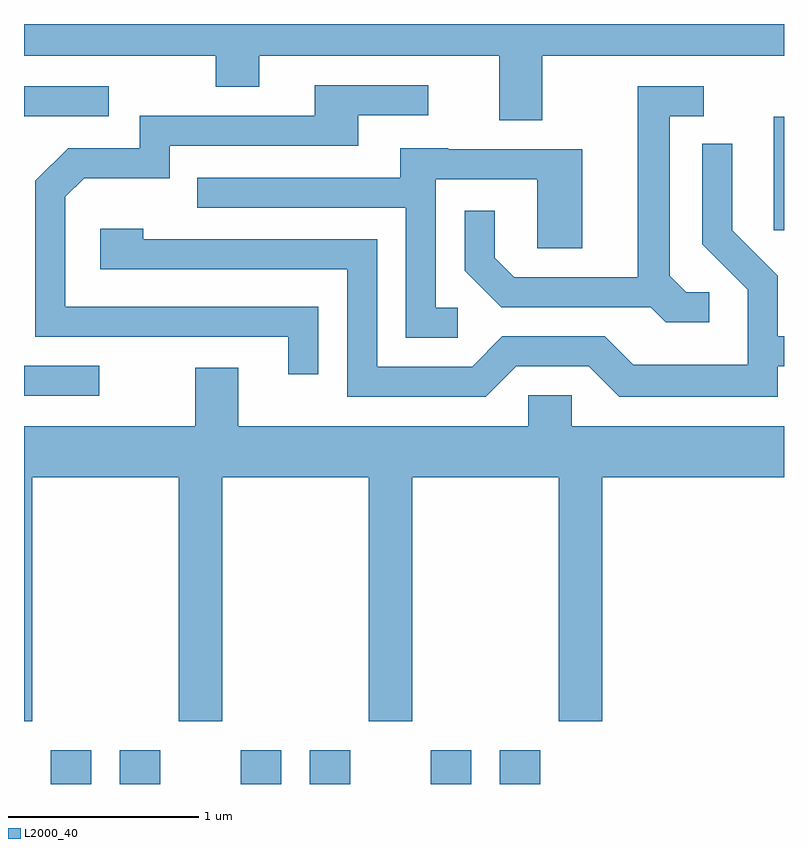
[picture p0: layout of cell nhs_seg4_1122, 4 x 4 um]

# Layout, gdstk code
import gdstk
lib = gdstk.Library(unit=1e-6, precision=1e-09)
def R(c, l, rs):  # rectangles x0, y0, x1, y1
    for r in rs: c.add(gdstk.rectangle(r[:2], r[2:], *l))
def P(c, l, *ps):  # polygons
    for p in ps: c.add(gdstk.Polygon(p, *l))
L2000_40 = (2000, 40)

nhs_seg4_1122 = lib.new_cell('nhs_seg4_1122')
R(nhs_seg4_1122, L2000_40, [(217.751,1321.982,217.964,1322.159), (218.116,1321.982,218.329,1322.159), (218.751,1321.982,218.964,1322.159), (219.116,1321.982,219.329,1322.159), (219.751,1321.982,219.964,1322.159), (220.116,1321.982,220.329,1322.159), (217.611,1324.026,218.008,1324.184), (221.556,1324.896,221.611,1325.494)])
P(nhs_seg4_1122, L2000_40, [(220.339,1325.816),(221.611,1325.816),(221.611,1325.982),(217.611,1325.982),(217.611,1325.816),(218.621,1325.816),(218.621,1325.651),(218.849,1325.651),(218.849,1325.816),(220.111,1325.816),(220.111,1325.476),(220.339,1325.476)],
  [(219.159,1324.494),(217.829,1324.494),(217.829,1325.074),(217.927,1325.171),(218.379,1325.171),(218.379,1325.341),(219.369,1325.341),(219.369,1325.501),(219.738,1325.501),(219.738,1325.659),(219.141,1325.659),(219.141,1325.499),(218.221,1325.499),(218.221,1325.329),(217.844,1325.329),(217.671,1325.157),(217.671,1324.336),(219.001,1324.336),(219.001,1324.138),(219.159,1324.138)],
  [(217.612,1325.496),(218.058,1325.496),(218.058,1325.654),(217.611,1325.654),(217.611,1325.495)],
  [(221.218,1324.569),(221.097,1324.569),(221.009,1324.657),(221.009,1325.496),(221.188,1325.496),(221.188,1325.654),(220.841,1325.654),(220.841,1324.649),(220.192,1324.649),(220.089,1324.752),(220.089,1324.998),(219.931,1324.998),(219.931,1324.684),(220.124,1324.491),(220.909,1324.491),(220.989,1324.411),(221.218,1324.411)],
  [(220.202,1324.181),(220.584,1324.181),(220.744,1324.021),(221.579,1324.021),(221.579,1324.181),(221.611,1324.181),(221.611,1324.339),(221.579,1324.339),(221.579,1324.657),(221.339,1324.897),(221.339,1325.353),(221.181,1325.353),(221.181,1324.824),(221.421,1324.584),(221.421,1324.189),(220.817,1324.189),(220.667,1324.339),(220.129,1324.339),(219.969,1324.179),(219.469,1324.179),(219.469,1324.849),(218.239,1324.849),(218.239,1324.904),(218.011,1324.904),(218.011,1324.691),(219.311,1324.691),(219.311,1324.021),(220.042,1324.021)],
  [(219.893,1324.489),(219.779,1324.489),(219.779,1325.166),(220.311,1325.166),(220.311,1324.801),(220.549,1324.801),(220.549,1325.324),(219.845,1325.324),(219.845,1325.329),(219.591,1325.329),(219.591,1325.174),(218.523,1325.174),(218.523,1325.016),(219.621,1325.016),(219.621,1324.331),(219.893,1324.331)],
  [(217.654,1323.596),(218.426,1323.596),(218.426,1322.311),(218.654,1322.311),(218.654,1323.596),(219.426,1323.596),(219.426,1322.311),(219.654,1322.311),(219.654,1323.596),(220.426,1323.596),(220.426,1322.311),(220.654,1322.311),(220.654,1323.596),(221.611,1323.596),(221.611,1323.864),(220.494,1323.864),(220.494,1324.029),(220.266,1324.029),(220.266,1323.864),(218.739,1323.864),(218.739,1324.174),(218.511,1324.174),(218.511,1323.864),(217.611,1323.864),(217.611,1322.311),(217.654,1322.311)])

lib.write_gds('nhs_seg4_1122.gds')
